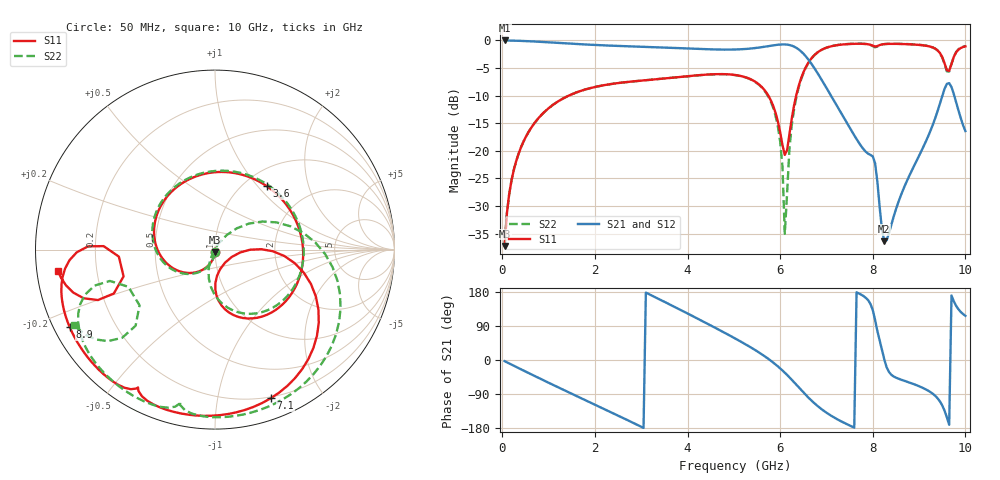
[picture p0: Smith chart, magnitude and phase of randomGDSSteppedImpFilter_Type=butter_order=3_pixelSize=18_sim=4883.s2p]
! freq	dB(S11)	phase(S11)	dB(S12)	phase(S12)
!  dB(S21)	phase(S21)	dB(S22)	phase(S22)
!S-par simulation data
#  GHz  S  DB  R 50
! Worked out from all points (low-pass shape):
!   200 points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, 50 MHz to 10 GHz, reference 50 ohm
!   highest |S21| = -0.01 dB at 50 MHz (marker M1); lowest = -36.4 dB at 8.25 GHz (marker M2)
!   |S21| within 3 dB of the highest: start of sweep to 6.565 GHz
!   lowest |S11| = -37.2 dB at 50 MHz (marker M3), VSWR 1.03, Z = 49.9 - j1.37 ohm
!   |S11| at or under -10 dB: start of sweep to 1.436 GHz; 5.744 GHz to 6.346 GHz (601.9 MHz wide, 9.96 % of centre)
!   |S22| runs from -37.3 to -0.6 dB; largest |S21 - S12| = 0
!   S11 on the Smith chart (normalised r, x): 50 MHz: 1.00, -0.03; 3.6 GHz: 1.25, +1.12; 7.1 GHz: 0.19, -1.43; 8.9 GHz: 0.05, -0.25; 10 GHz: 0.06, -0.07
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0.05  -37.24 -91.9  -0.01 -3.1  -0.01 -3.1  -37.27 -91.7
0.2  -25.31 -102.6  -0.03 -12.2  -0.03 -12.2  -25.31 -102.1
0.5  -17.61 -121.5  -0.12 -30.3  -0.12 -30.3  -17.61 -120.1
1.75  -9.00 163.1  -0.72 -103.5  -0.72 -103.5  -9.00 168.6
2.65  -7.57 109.3  -1.05 -155.5  -1.05 -155.5  -7.58 118.5
3.4  -6.98 63.4  -1.26 159.7  -1.26 159.7  -6.98 75.3
3.6  -6.82 51.0  -1.33 147.5  -1.33 147.5  -6.82 63.4
4.35  -6.23 4.5  -1.58 100.8  -1.58 100.8  -6.23 17.1
5.05  -6.29 -38.9  -1.64 55.4  -1.64 55.4  -6.30 -28.5
5.85  -11.86 -88.2  -0.89 -6.7  -0.89 -6.7  -12.22 -91.3
6  -16.62 -85.7  -0.74 -22.1  -0.74 -22.1  -18.28 -107.3
6.1  -20.74 -52.5  -0.72 -33.4  -0.72 -33.4  -35.01 -128.3
6.3  -11.80 0.5  -1.12 -58.6  -1.12 -58.6  -12.48 37.5
6.7  -3.00 -35.3  -4.53 -109.8  -4.53 -109.8  -3.05 -14.3
7.1  -1.07 -69.4  -10.04 -146.9  -10.04 -146.9  -1.06 -51.7
8  -0.96 -118.4  -21.01 131.7  -21.01 131.7  -1.04 -102.6
8.25  -0.67 -125.5  -36.36 1.0  -36.36 1.0  -0.67 -108.8
8.35  -0.62 -129.9  -34.89 -31.6  -34.89 -31.6  -0.61 -113.2
8.9  -0.75 -151.9  -22.59 -64.3  -22.59 -64.3  -0.72 -134.8
9.4  -1.80 -175.8  -12.79 -101.2  -12.79 -101.2  -1.83 -157.9
9.6  -5.40 -175.8  -7.87 -151.1  -7.87 -151.1  -5.59 -156.7
10  -1.08 -172.2  -16.42 116.6  -16.42 116.6  -1.01 -151.8
